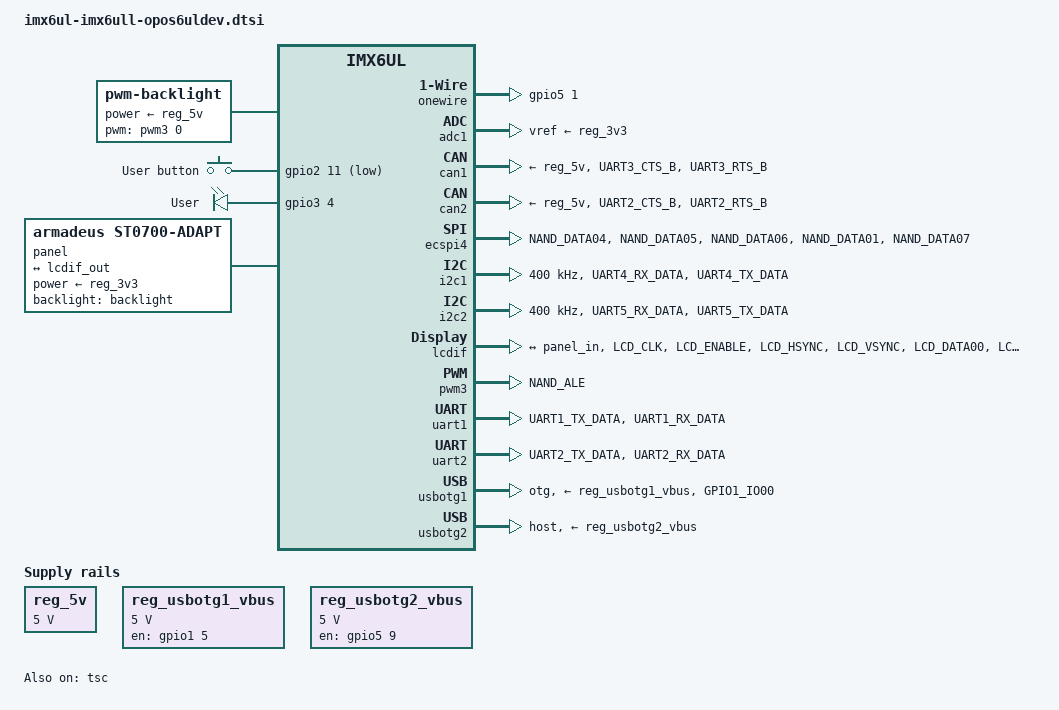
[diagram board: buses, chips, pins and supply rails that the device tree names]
// SPDX-License-Identifier: GPL-2.0 OR MIT
//
// Copyright 2019 Armadeus Systems <support@armadeus.com>

/ {
	chosen {
		stdout-path = &uart1;
	};

	backlight: backlight {
		compatible = "pwm-backlight";
		pwms = <&pwm3 0 191000>;
		brightness-levels = <0 4 8 16 32 64 128 255>;
		default-brightness-level = <7>;
		power-supply = <&reg_5v>;
		status = "okay";
	};

	gpio-keys {
		compatible = "gpio-keys";
		pinctrl-names = "default";
		pinctrl-0 = <&pinctrl_gpio_keys>;

		user-button {
			label = "User button";
			gpios = <&gpio2 11 GPIO_ACTIVE_LOW>;
			linux,code = <BTN_MISC>;
			wakeup-source;
		};
	};

	leds {
		compatible = "gpio-leds";

		user-led {
			label = "User";
			pinctrl-names = "default";
			pinctrl-0 = <&pinctrl_led>;
			gpios = <&gpio3 4 GPIO_ACTIVE_HIGH>;
			linux,default-trigger = "heartbeat";
		};
	};

	onewire {
		compatible = "w1-gpio";
		pinctrl-names = "default";
		pinctrl-0 = <&pinctrl_w1>;
		gpios = <&gpio5 1 GPIO_ACTIVE_HIGH>;
	};

	panel: panel {
		compatible = "armadeus,st0700-adapt";
		power-supply = <&reg_3v3>;
		backlight = <&backlight>;

		port {
			panel_in: endpoint {
				remote-endpoint = <&lcdif_out>;
			};
		};
	};

	reg_5v: regulator-5v {
		compatible = "regulator-fixed";
		regulator-name = "5V";
		regulator-min-microvolt = <5000000>;
		regulator-max-microvolt = <5000000>;
	};

	reg_usbotg1_vbus: regulator-usbotg1vbus {
		compatible = "regulator-fixed";
		regulator-name = "usbotg1vbus";
		regulator-min-microvolt = <5000000>;
		regulator-max-microvolt = <5000000>;
		pinctrl-names = "default";
		pinctrl-0 = <&pinctrl_usbotg1_vbus>;
		gpio = <&gpio1 5 GPIO_ACTIVE_HIGH>;
		enable-active-high;
	};

	reg_usbotg2_vbus: regulator-usbotg2vbus {
		compatible = "regulator-fixed";
		regulator-name = "usbotg2vbus";
		regulator-min-microvolt = <5000000>;
		regulator-max-microvolt = <5000000>;
		pinctrl-names = "default";
		pinctrl-0 = <&pinctrl_usbotg2_vbus>;
		gpio = <&gpio5 9 GPIO_ACTIVE_HIGH>;
		enable-active-high;
	};
};

&adc1 {
	vref-supply = <&reg_3v3>;
	status = "okay";
};

&can1 {
	pinctrl-names = "default";
	pinctrl-0 = <&pinctrl_flexcan1>;
	xceiver-supply = <&reg_5v>;
	status = "okay";
};

&can2 {
	pinctrl-names = "default";
	pinctrl-0 = <&pinctrl_flexcan2>;
	xceiver-supply = <&reg_5v>;
	status = "okay";
};

&ecspi4 {
	pinctrl-names = "default";
	pinctrl-0 = <&pinctrl_ecspi4>;
	cs-gpios = <&gpio4 9 GPIO_ACTIVE_LOW>, <&gpio4 3 GPIO_ACTIVE_LOW>;
	status = "okay";
};

&i2c1 {
	pinctrl-names = "default";
	pinctrl-0 = <&pinctrl_i2c1>;
	clock-frequency = <400000>;
	status = "okay";
};

&i2c2 {
	pinctrl-names = "default";
	pinctrl-0 = <&pinctrl_i2c2>;
	clock-frequency = <400000>;
	status = "okay";
};

&lcdif {
	pinctrl-names = "default";
	pinctrl-0 = <&pinctrl_lcdif>;
	status = "okay";

	port {
		lcdif_out: endpoint {
			remote-endpoint = <&panel_in>;
		};
	};
};

&pwm3 {
	#pwm-cells = <2>;
	pinctrl-names = "default";
	pinctrl-0 = <&pinctrl_pwm3>;
	status = "okay";
};

&snvs_pwrkey {
	status = "disabled";
};

&tsc {
	pinctrl-names = "default";
	pinctrl-0 = <&pinctrl_tsc>;
	xnur-gpios = <&gpio1 3 GPIO_ACTIVE_LOW>;
	measure-delay-time = <0xffff>;
	pre-charge-time = <0xffff>;
	status = "okay";
};

&uart1 {
	pinctrl-names = "default";
	pinctrl-0 = <&pinctrl_uart1>;
	status = "okay";
};

&uart2 {
	pinctrl-names = "default";
	pinctrl-0 = <&pinctrl_uart2>;
	status = "okay";
};

&usbotg1 {
	pinctrl-names = "default";
	pinctrl-0 = <&pinctrl_usbotg1_id>;
	vbus-supply = <&reg_usbotg1_vbus>;
	dr_mode = "otg";
	disable-over-current;
	status = "okay";
};

&usbotg2 {
	vbus-supply = <&reg_usbotg2_vbus>;
	dr_mode = "host";
	disable-over-current;
	status = "okay";
};

&iomuxc {
	pinctrl-names = "default";
	pinctrl-0 = <&pinctrl_gpios>;

	pinctrl_ecspi4: ecspi4grp {
		fsl,pins = <
			MX6UL_PAD_NAND_DATA04__ECSPI4_SCLK	0x1b0b0
			MX6UL_PAD_NAND_DATA05__ECSPI4_MOSI	0x1b0b0
			MX6UL_PAD_NAND_DATA06__ECSPI4_MISO	0x1b0b0
			MX6UL_PAD_NAND_DATA01__GPIO4_IO03	0x1b0b0
			MX6UL_PAD_NAND_DATA07__GPIO4_IO09	0x1b0b0
		>;
	};

	pinctrl_flexcan1: flexcan1grp {
		fsl,pins = <
			MX6UL_PAD_UART3_CTS_B__FLEXCAN1_TX	0x0b0b0
			MX6UL_PAD_UART3_RTS_B__FLEXCAN1_RX	0x0b0b0
		>;
	};

	pinctrl_flexcan2: flexcan2grp {
		fsl,pins = <
			MX6UL_PAD_UART2_CTS_B__FLEXCAN2_TX	0x0b0b0
			MX6UL_PAD_UART2_RTS_B__FLEXCAN2_RX	0x0b0b0
		>;
	};

	pinctrl_gpios: gpiosgrp {
		fsl,pins = <
			MX6UL_PAD_GPIO1_IO09__GPIO1_IO09	0x0b0b0
			MX6UL_PAD_UART3_RX_DATA__GPIO1_IO25	0x0b0b0
			MX6UL_PAD_UART3_TX_DATA__GPIO1_IO24	0x0b0b0
			MX6UL_PAD_NAND_RE_B__GPIO4_IO00		0x0b0b0
			MX6UL_PAD_GPIO1_IO08__GPIO1_IO08	0x0b0b0
			MX6UL_PAD_UART1_CTS_B__GPIO1_IO18	0x0b0b0
			MX6UL_PAD_UART1_RTS_B__GPIO1_IO19	0x0b0b0
			MX6UL_PAD_NAND_WE_B__GPIO4_IO01		0x0b0b0
		>;
	};

	pinctrl_gpio_keys: gpiokeysgrp {
		fsl,pins = <
			MX6UL_PAD_ENET2_TX_DATA0__GPIO2_IO11	0x0b0b0
		>;
	};

	pinctrl_i2c1: i2c1grp {
		fsl,pins = <
			MX6UL_PAD_UART4_RX_DATA__I2C1_SDA	0x4001b8b0
			MX6UL_PAD_UART4_TX_DATA__I2C1_SCL	0x4001b8b0
		>;
	};

	pinctrl_i2c2: i2c2grp {
		fsl,pins = <
			MX6UL_PAD_UART5_RX_DATA__I2C2_SDA	0x4001b8b0
			MX6UL_PAD_UART5_TX_DATA__I2C2_SCL	0x4001b8b0
		>;
	};

	pinctrl_lcdif: lcdifgrp {
		fsl,pins = <
			MX6UL_PAD_LCD_CLK__LCDIF_CLK	    0x100b1
			MX6UL_PAD_LCD_ENABLE__LCDIF_ENABLE  0x100b1
			MX6UL_PAD_LCD_HSYNC__LCDIF_HSYNC    0x100b1
			MX6UL_PAD_LCD_VSYNC__LCDIF_VSYNC    0x100b1
			MX6UL_PAD_LCD_DATA00__LCDIF_DATA00  0x100b1
			MX6UL_PAD_LCD_DATA01__LCDIF_DATA01  0x100b1
			MX6UL_PAD_LCD_DATA02__LCDIF_DATA02  0x100b1
			MX6UL_PAD_LCD_DATA03__LCDIF_DATA03  0x100b1
			MX6UL_PAD_LCD_DATA04__LCDIF_DATA04  0x100b1
			MX6UL_PAD_LCD_DATA05__LCDIF_DATA05  0x100b1
			MX6UL_PAD_LCD_DATA06__LCDIF_DATA06  0x100b1
			MX6UL_PAD_LCD_DATA07__LCDIF_DATA07  0x100b1
			MX6UL_PAD_LCD_DATA08__LCDIF_DATA08  0x100b1
			MX6UL_PAD_LCD_DATA09__LCDIF_DATA09  0x100b1
			MX6UL_PAD_LCD_DATA10__LCDIF_DATA10  0x100b1
			MX6UL_PAD_LCD_DATA11__LCDIF_DATA11  0x100b1
			MX6UL_PAD_LCD_DATA12__LCDIF_DATA12  0x100b1
			MX6UL_PAD_LCD_DATA13__LCDIF_DATA13  0x100b1
			MX6UL_PAD_LCD_DATA14__LCDIF_DATA14  0x100b1
			MX6UL_PAD_LCD_DATA15__LCDIF_DATA15  0x100b1
			MX6UL_PAD_LCD_DATA16__LCDIF_DATA16  0x100b1
			MX6UL_PAD_LCD_DATA17__LCDIF_DATA17  0x100b1
		>;
	};

	pinctrl_led: ledgrp {
		fsl,pins = <
			MX6UL_PAD_LCD_RESET__GPIO3_IO04		0x0b0b0
		>;
	};

	pinctrl_pwm3: pwm3grp {
		fsl,pins = <
			MX6UL_PAD_NAND_ALE__PWM3_OUT		0x1b0b0
		>;
	};

	pinctrl_tsc: tscgrp {
		fsl,pins = <
			MX6UL_PAD_GPIO1_IO01__GPIO1_IO01       0xb0
			MX6UL_PAD_GPIO1_IO02__GPIO1_IO02       0xb0
			MX6UL_PAD_GPIO1_IO03__GPIO1_IO03       0xb0
			MX6UL_PAD_GPIO1_IO04__GPIO1_IO04       0xb0
		>;
	};

	pinctrl_uart1: uart1grp {
		fsl,pins = <
			MX6UL_PAD_UART1_TX_DATA__UART1_DCE_TX	0x1b0b1
			MX6UL_PAD_UART1_RX_DATA__UART1_DCE_RX	0x1b0b1
		>;
	};

	pinctrl_uart2: uart2grp {
		fsl,pins = <
			MX6UL_PAD_UART2_TX_DATA__UART2_DCE_TX	0x1b0b1
			MX6UL_PAD_UART2_RX_DATA__UART2_DCE_RX	0x1b0b1
		>;
	};

	pinctrl_usbotg1_id: usbotg1idgrp {
		fsl,pins = <
			MX6UL_PAD_GPIO1_IO00__ANATOP_OTG1_ID	0x1b0b0
		>;
	};

	pinctrl_usbotg1_vbus: usbotg1vbusgrp {
		fsl,pins = <
			MX6UL_PAD_GPIO1_IO05__GPIO1_IO05	0x1b0b0
		>;
	};
};
